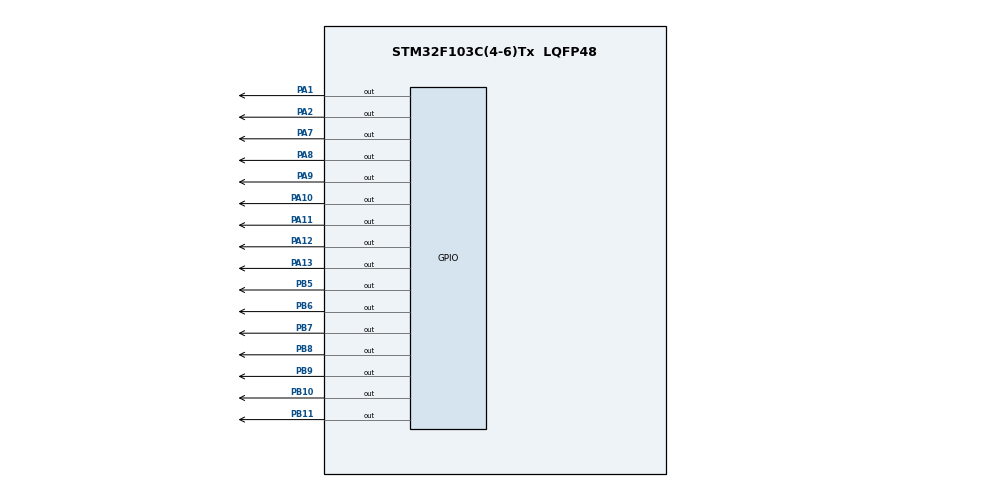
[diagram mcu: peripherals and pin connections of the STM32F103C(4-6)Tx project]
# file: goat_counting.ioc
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Mcu.Family=STM32F1
Mcu.Name=STM32F103C(4-6)Tx
Mcu.Package=LQFP48
NVIC.PriorityGroup=NVIC_PRIORITYGROUP_4
PA1.Signal=GPIO_Output
PA10.Signal=GPIO_Output
PA11.Signal=GPIO_Output
PA12.Signal=GPIO_Output
PA13.Signal=GPIO_Output
PA2.Signal=GPIO_Output
PA7.Signal=GPIO_Output
PA8.Signal=GPIO_Output
PA9.Signal=GPIO_Output
PB10.Signal=GPIO_Output
PB11.Signal=GPIO_Output
PB5.Signal=GPIO_Output
PB6.Signal=GPIO_Output
PB7.Signal=GPIO_Output
PB8.Signal=GPIO_Output
PB9.Signal=GPIO_Output
PD0-OSC_IN.Mode=HSE-External-Oscillator
PD0-OSC_IN.Signal=RCC_OSC_IN
PD1-OSC_OUT.Mode=HSE-External-Oscillator
PD1-OSC_OUT.Signal=RCC_OSC_OUT
ProjectManager.HeapSize=0x200
ProjectManager.StackSize=0x400
ProjectManager.TargetToolchain=STM32CubeIDE
RCC.APB1Freq_Value=8000000
RCC.APB2Freq_Value=8000000
VP_SYS_VS_ND.Mode=No_Debug
board=custom

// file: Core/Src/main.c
/* USER CODE BEGIN Header */
/**
  ******************************************************************************
  * @file           : main.c
  * @brief          : Main program body
  ******************************************************************************
  * @attention
  *
  * <h2><center>&copy; Copyright (c) 2021 STMicroelectronics.
  * All rights reserved.</center></h2>
  *
  * This software component is licensed by ST under BSD 3-Clause license,
  * the "License"; You may not use this file except in compliance with the
  * License. You may obtain a copy of the License at:
  *                        opensource.org/licenses/BSD-3-Clause
  *
  ******************************************************************************
  */
/* USER CODE END Header */
#include "main.h"

void SystemClock_Config(void);
static void MX_GPIO_Init(void);

int main(void)
{

  /* MCU Configuration--------------------------------------------------------*/

  /* Reset of all peripherals, Initializes the Flash interface and the Systick. */
  HAL_Init();

  /* Configure the system clock */
  SystemClock_Config();

  /* Initialize all configured peripherals */
  MX_GPIO_Init();
  /* USER CODE BEGIN 2 */

  void display7SEG(int counter){
     	  switch(counter){
     	  case 0:
     		  HAL_GPIO_WritePin(GPIOA, GPIO_PIN_13, 1);
     		  HAL_GPIO_WritePin(GPIOA, GPIO_PIN_7|GPIO_PIN_8|GPIO_PIN_9|GPIO_PIN_10|GPIO_PIN_11|GPIO_PIN_12, 0);
     		  break;
     	  case 1:
     	  	HAL_GPIO_WritePin(GPIOA, GPIO_PIN_7|GPIO_PIN_10|GPIO_PIN_11|GPIO_PIN_12|GPIO_PIN_13, 1);
     	  	HAL_GPIO_WritePin(GPIOA, GPIO_PIN_8|GPIO_PIN_9, 0);
     	  	break;
     	  case 2:
     	  	HAL_GPIO_WritePin(GPIOA, GPIO_PIN_9|GPIO_PIN_12, 1);
     	  	HAL_GPIO_WritePin(GPIOA, GPIO_PIN_7|GPIO_PIN_8|GPIO_PIN_10|GPIO_PIN_11|GPIO_PIN_13, 0);
     	  	break;
     	  case 3:
     	  	HAL_GPIO_WritePin(GPIOA, GPIO_PIN_11|GPIO_PIN_12, 1);
     	  	HAL_GPIO_WritePin(GPIOA, GPIO_PIN_7|GPIO_PIN_8|GPIO_PIN_9|GPIO_PIN_10|GPIO_PIN_13, 0);
     	  	break;
     	  case 4:
     	  	HAL_GPIO_WritePin(GPIOA, GPIO_PIN_7|GPIO_PIN_10|GPIO_PIN_11, 1);
     	  	HAL_GPIO_WritePin(GPIOA, GPIO_PIN_8|GPIO_PIN_9|GPIO_PIN_12|GPIO_PIN_13, 0);
     	  	break;
     	  case 5:
     	  	HAL_GPIO_WritePin(GPIOA, GPIO_PIN_8|GPIO_PIN_11, 1);
     	  	HAL_GPIO_WritePin(GPIOA, GPIO_PIN_7|GPIO_PIN_9|GPIO_PIN_10|GPIO_PIN_12|GPIO_PIN_13, 0);
     	  	break;
     	  case 6:
     	  	HAL_GPIO_WritePin(GPIOA, GPIO_PIN_8, 1);
     	  	HAL_GPIO_WritePin(GPIOA, GPIO_PIN_7|GPIO_PIN_9|GPIO_PIN_10|GPIO_PIN_11|GPIO_PIN_12|GPIO_PIN_13, 0);
     	  	break;
     	  case 7:
     	  	HAL_GPIO_WritePin(GPIOA, GPIO_PIN_10|GPIO_PIN_11|GPIO_PIN_12|GPIO_PIN_13, 1);
     	  	HAL_GPIO_WritePin(GPIOA, GPIO_PIN_7|GPIO_PIN_8|GPIO_PIN_9, 0);
     	  	break;
     	  case 8:
     	  	HAL_GPIO_WritePin(GPIOA, GPIO_PIN_7|GPIO_PIN_8|GPIO_PIN_9|GPIO_PIN_10|GPIO_PIN_11|GPIO_PIN_12|GPIO_PIN_13, 0);
     	  	break;
     	  case 9:
     	  	HAL_GPIO_WritePin(GPIOA, GPIO_PIN_11, 1);
     	  	HAL_GPIO_WritePin(GPIOA, GPIO_PIN_7|GPIO_PIN_8|GPIO_PIN_9|GPIO_PIN_10|GPIO_PIN_12|GPIO_PIN_13, 0);
     	  	break;
     	  }
       }

    // Display led 7 segment right and left
     void display7SEG_1(int counter){
     	  switch(counter){
     	  case 0:
     		  HAL_GPIO_WritePin(GPIOB, GPIO_PIN_11, 1);
     		  HAL_GPIO_WritePin(GPIOB, GPIO_PIN_5|GPIO_PIN_6|GPIO_PIN_7|GPIO_PIN_8|GPIO_PIN_9|GPIO_PIN_10, 0);
     		  break;
     	  case 1:
     	  	HAL_GPIO_WritePin(GPIOB, GPIO_PIN_5|GPIO_PIN_8|GPIO_PIN_9|GPIO_PIN_10|GPIO_PIN_11, 1);
     	  	HAL_GPIO_WritePin(GPIOB, GPIO_PIN_6|GPIO_PIN_7, 0);
     	  	break;
     	  case 2:
     	  	HAL_GPIO_WritePin(GPIOB, GPIO_PIN_7|GPIO_PIN_10, 1);
     	  	HAL_GPIO_WritePin(GPIOB, GPIO_PIN_5|GPIO_PIN_6|GPIO_PIN_8|GPIO_PIN_9|GPIO_PIN_11, 0);
     	  	break;
     	  case 3:
     	  	HAL_GPIO_WritePin(GPIOB, GPIO_PIN_9|GPIO_PIN_10, 1);
     	  	HAL_GPIO_WritePin(GPIOB, GPIO_PIN_5|GPIO_PIN_6|GPIO_PIN_7|GPIO_PIN_8|GPIO_PIN_11, 0);
     	  	break;
     	  case 4:
     	  	HAL_GPIO_WritePin(GPIOB, GPIO_PIN_5|GPIO_PIN_8|GPIO_PIN_9, 1);
     	  	HAL_GPIO_WritePin(GPIOB, GPIO_PIN_6|GPIO_PIN_7|GPIO_PIN_10|GPIO_PIN_11, 0);
     	  	break;
     	  case 5:
     	  	HAL_GPIO_WritePin(GPIOB, GPIO_PIN_6|GPIO_PIN_9, 1);
     	  	HAL_GPIO_WritePin(GPIOB, GPIO_PIN_5|GPIO_PIN_7|GPIO_PIN_8|GPIO_PIN_10|GPIO_PIN_11, 0);
     	  	break;
     	  case 6:
     	  	HAL_GPIO_WritePin(GPIOB, GPIO_PIN_6, 1);
     	  	HAL_GPIO_WritePin(GPIOB, GPIO_PIN_5|GPIO_PIN_7|GPIO_PIN_8|GPIO_PIN_9|GPIO_PIN_10|GPIO_PIN_11, 0);
     	  	break;
     	  case 7:
     	  	HAL_GPIO_WritePin(GPIOB, GPIO_PIN_8|GPIO_PIN_9|GPIO_PIN_10|GPIO_PIN_11, 1);
     	  	HAL_GPIO_WritePin(GPIOB, GPIO_PIN_5|GPIO_PIN_6|GPIO_PIN_7, 0);
     	  	break;
     	  case 8:
     	  	HAL_GPIO_WritePin(GPIOB, GPIO_PIN_5|GPIO_PIN_6|GPIO_PIN_7|GPIO_PIN_8|GPIO_PIN_9|GPIO_PIN_10|GPIO_PIN_11, 0);
     	  	break;
     	  case 9:
     	  	HAL_GPIO_WritePin(GPIOB, GPIO_PIN_9, 1);
     	  	HAL_GPIO_WritePin(GPIOB, GPIO_PIN_5|GPIO_PIN_6|GPIO_PIN_7|GPIO_PIN_8|GPIO_PIN_10|GPIO_PIN_11, 0);
     	  	break;
     	  }
       }

  /* USER CODE END 2 */

  /* Infinite loop */
  /* USER CODE BEGIN WHILE */

 int check_B = 0;
 int check_A = 0;

 int is_button_pressed_B(){
	 if(HAL_GPIO_ReadPin(GPIOA, GPIO_Pin_2)){
	  	check_B = 1;
	 }
	 if(check_B == 1){
		 if(HAL_GPIO_ReadPin(GPIOA, GPIO_Pin_2) == 0){
			 check_B = 0;
			 return 1;
		 }
	 }
	 return 0;

 }

 int is_button_pressed_A(){
 	 if(HAL_GPIO_ReadPin(GPIOA, GPIO_Pin_1)){
 	  	check_A = 1;
 	 }
 	 if(check_A == 1){
 		 if(HAL_GPIO_ReadPin(GPIOA, GPIO_Pin_1) == 0){
 			check_A = 0;
 			 return 1;
 		 }
 	 }
 	 return 0;

  }

 enum LedState{STOP, RUN, PAUSE };
  enum LedState ledState = STOP;
  while (1)
  {
    /* USER CODE END WHILE */
	 switch(ledState){
	 case STOP:
		 HAL_GPIO_WritePin(GPIOA, GPIO_PIN_3, 0);
		 if(is_button_pressed_B()){
			ledState = RUN;
		 }
		 break;
	 case RUN:
		 if(is_button_pressed_A()){
			 ledState = STOP;
		 }
		 else if(is_button_pressed_B()){
		 	ledState = PAUSE;
		 }
		 else{
			 HAL_GPIO_TogglePin(GPIOA, GPIO_PIN_3);
		 }
		 break;
	 case PAUSE:
		 if(is_button_pressed_A()){
		 	 ledState = STOP;
		 }
		 else if(is_button_pressed_B()){
		  	ledState = RUN;
		 }
		 break;
	 }
	 HAL_Delay(1000);

  }
}

void SystemClock_Config(void)
{
  RCC_OscInitTypeDef RCC_OscInitStruct = {0};
  RCC_ClkInitTypeDef RCC_ClkInitStruct = {0};

  /** Initializes the RCC Oscillators according to the specified parameters
  * in the RCC_OscInitTypeDef structure.
  */
  RCC_OscInitStruct.OscillatorType = RCC_OSCILLATORTYPE_HSI;
  RCC_OscInitStruct.HSIState = RCC_HSI_ON;
  RCC_OscInitStruct.HSICalibrationValue = RCC_HSICALIBRATION_DEFAULT;
  RCC_OscInitStruct.PLL.PLLState = RCC_PLL_NONE;
  if (HAL_RCC_OscConfig(&RCC_OscInitStruct) != HAL_OK)
  {
    Error_Handler();
  }
  /** Initializes the CPU, AHB and APB buses clocks
  */
  RCC_ClkInitStruct.ClockType = RCC_CLOCKTYPE_HCLK|RCC_CLOCKTYPE_SYSCLK
                              |RCC_CLOCKTYPE_PCLK1|RCC_CLOCKTYPE_PCLK2;
  RCC_ClkInitStruct.SYSCLKSource = RCC_SYSCLKSOURCE_HSI;
  RCC_ClkInitStruct.AHBCLKDivider = RCC_SYSCLK_DIV1;
  RCC_ClkInitStruct.APB1CLKDivider = RCC_HCLK_DIV1;
  RCC_ClkInitStruct.APB2CLKDivider = RCC_HCLK_DIV1;

  if (HAL_RCC_ClockConfig(&RCC_ClkInitStruct, FLASH_LATENCY_0) != HAL_OK)
  {
    Error_Handler();
  }
}

static void MX_GPIO_Init(void)
{
  GPIO_InitTypeDef GPIO_InitStruct = {0};

  /* GPIO Ports Clock Enable */
  __HAL_RCC_GPIOD_CLK_ENABLE();
  __HAL_RCC_GPIOA_CLK_ENABLE();
  __HAL_RCC_GPIOB_CLK_ENABLE();

  /*Configure GPIO pin Output Level */
  HAL_GPIO_WritePin(GPIOA, GPIO_PIN_1|GPIO_PIN_2|GPIO_PIN_7|GPIO_PIN_8
                          |GPIO_PIN_9|GPIO_PIN_10|GPIO_PIN_11|GPIO_PIN_12
                          |GPIO_PIN_13, GPIO_PIN_RESET);

  /*Configure GPIO pin Output Level */
  HAL_GPIO_WritePin(GPIOB, GPIO_PIN_10|GPIO_PIN_11|GPIO_PIN_5|GPIO_PIN_6
                          |GPIO_PIN_7|GPIO_PIN_8|GPIO_PIN_9, GPIO_PIN_RESET);

  /*Configure GPIO pins : PA1 PA2 PA7 PA8
                           PA9 PA10 PA11 PA12
                           PA13 */
  GPIO_InitStruct.Pin = GPIO_PIN_1|GPIO_PIN_2|GPIO_PIN_7|GPIO_PIN_8
                          |GPIO_PIN_9|GPIO_PIN_10|GPIO_PIN_11|GPIO_PIN_12
                          |GPIO_PIN_13;
  GPIO_InitStruct.Mode = GPIO_MODE_OUTPUT_PP;
  GPIO_InitStruct.Pull = GPIO_NOPULL;
  GPIO_InitStruct.Speed = GPIO_SPEED_FREQ_LOW;
  HAL_GPIO_Init(GPIOA, &GPIO_InitStruct);

  /*Configure GPIO pins : PB10 PB11 PB5 PB6
                           PB7 PB8 PB9 */
  GPIO_InitStruct.Pin = GPIO_PIN_10|GPIO_PIN_11|GPIO_PIN_5|GPIO_PIN_6
                          |GPIO_PIN_7|GPIO_PIN_8|GPIO_PIN_9;
  GPIO_InitStruct.Mode = GPIO_MODE_OUTPUT_PP;
  GPIO_InitStruct.Pull = GPIO_NOPULL;
  GPIO_InitStruct.Speed = GPIO_SPEED_FREQ_LOW;
  HAL_GPIO_Init(GPIOB, &GPIO_InitStruct);

}

void Error_Handler(void)
{
  __disable_irq();
  while (1)
  {
  }
}

/************************ (C) COPYRIGHT STMicroelectronics *****END OF FILE****/
